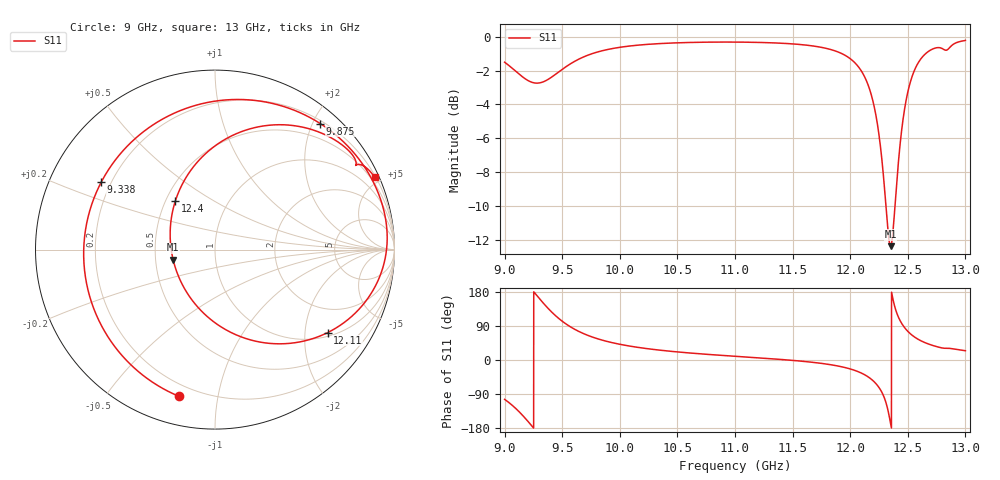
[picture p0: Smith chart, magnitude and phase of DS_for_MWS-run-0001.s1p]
! TOUCHSTONE file generated by CST DESIGN STUDIO
! Date and time: Tue Feb  4 13:02:13 2025
! Project name: C:\Work\MatlabApps\UnitCellOptimizationMatlab\CST\unitcell.cst
! Tree item: Tasks\Sweep1\SPara1\S-Parameters
! Header version: 2024
! Port assignment regex: !\s*Touchstone port\s*([0-9]+)\s*=\s*(CST MWS port|CST DES external port|CST DES block port)\s*(.+)\s* \(\"(.*)\"\)(\s*mode\s*([0-9]+))?.*
! Touchstone port assignment:
! Touchstone port 1 = CST DES external port 1 ("")
# GHz S MA R 50
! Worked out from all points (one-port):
!   4001 points, 9 GHz to 13 GHz, reference 50 ohm
!   lowest |S11| = -12.4 dB at 12.35 GHz (marker M1), VSWR 1.63, Z = 30.9 - j3.7 ohm
!   |S11| at or under -10 dB: 12.31 GHz to 12.39 GHz (78.73 MHz wide, 0.638 % of centre)
!   S11 on the Smith chart (normalised r, x): 9 GHz: 0.14, -0.77; 9.338 GHz: 0.16, +0.27; 9.875 GHz: 0.25, +2.12; 12.11 GHz: 1.11, -2.62; 12.4 GHz: 0.56, +0.34; 13 GHz: 0.27, +4.60
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9  0.8417 -103.8
9.096  0.7918 -127.7
9.197  0.7448 -159.9
9.266  0.7302 175.2
9.338  0.7368 149.4
9.418  0.7645 123.8
9.5  0.8015 102.4
9.58  0.8359 85.9
9.68  0.8709 70.3
9.875  0.9149 50.1
10  0.9317 41.5
10.5  0.9607 21.3
11  0.9656 9.8
11.5  0.9537 -1.0
11.809  0.922 -11.4
12  0.8624 -23.6
12.11  0.7793 -36.4
12.18  0.6797 -49.9
12.25  0.5126 -72.6
12.299  0.3525 -101.9
12.35  0.24 -166.4
12.398  0.3484 129.5
12.449  0.5374 95.6
12.5  0.6864 75.7
12.59  0.8377 54.6
12.691  0.9116 41.0
12.811  0.9189 31.2
13  0.9763 24.5
